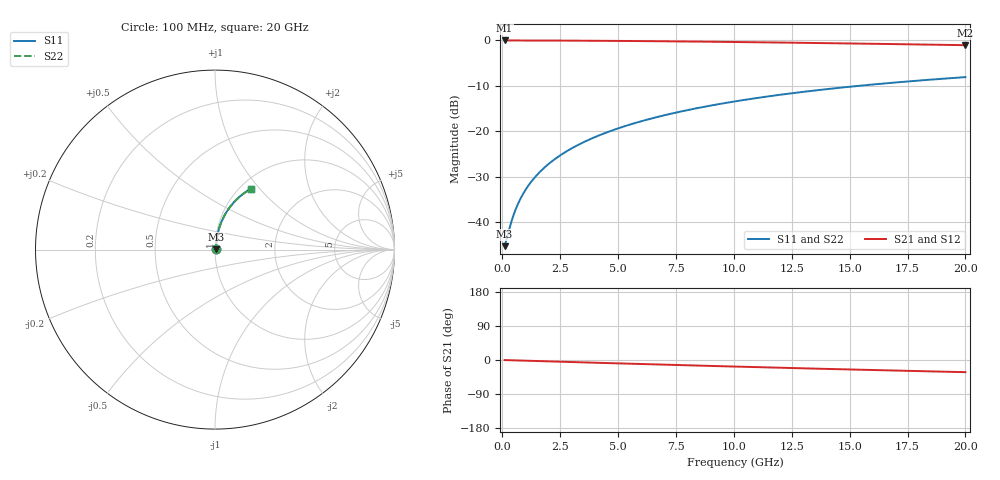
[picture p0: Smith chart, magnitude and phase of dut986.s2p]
! Touchstone file exported from HFSS 2024.1.0
!  File:  C:/UserFiles/LocalFiles/RDL_TSV_Batchsim/temp_RDL_bottom_986_1779943689.aedt
!  Generated:  12:50:50 PM May 28, 2026
!  Design:  RDL_bottom
!  Project:  temp_RDL_bottom_986_1779943689
!  Setup:  Setup1
!  Solution:  Sweep
! Variables:
!  dtsv = 10.80580581um
!  hbump = 3um
!  htsv = 59.23um
!  ldown = 388.85um
!  lrdl = 100um
!  p = 40
!  p1 = 42.44um
!  rhole = 1um
!  t = 450um
!  tdown = 2.62um
!  trdl = 3.915915916um
!  wdown = 10.84um
!  wrdl = 20um
# GHz S MA R 50.000000
! Terminal data exported
! Port[1] = RDL1_T1
! Port[2] = RDL1_T2
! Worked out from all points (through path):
!   200 points, 100 MHz to 20 GHz, reference 50 ohm
!   highest |S21| = -0.04 dB at 100 MHz (marker M1); lowest = -1.1 dB at 20 GHz (marker M2)
!   group delay of S21, straight-line fit = 4.46 ps
!   lowest |S11| = -45.3 dB at 100 MHz (marker M3), VSWR 1.01, Z = 50.5 + j0.225 ohm
!   |S11| at or under -10 dB: start of sweep to 15.44 GHz
!   |S22| runs from -45.3 to -8.1 dB; largest |S21 - S12| = 5.2e-15
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0.1  0.005442 24.2  0.995 -0.2  0.995 -0.2  0.005442 24.2
! Gamma 0 0 0 0
! Port Impedance 50 0 50 0
0.4  0.01026 59.7  0.9948 -0.7  0.9948 -0.7  0.01026 59.7
0.5  0.01224 64.4  0.9947 -0.9  0.9947 -0.9  0.01224 64.4
0.6  0.01427 67.7  0.9946 -1.1  0.9946 -1.1  0.01427 67.7
0.7  0.01633 70.2  0.9945 -1.3  0.9945 -1.3  0.01633 70.2
0.9  0.02049 73.5  0.9943 -1.6  0.9943 -1.6  0.02049 73.5
1.2  0.02677 76.4  0.9938 -2.2  0.9938 -2.2  0.02677 76.4
1.4  0.03097 77.6  0.9936 -2.5  0.9936 -2.5  0.03097 77.6
1.7  0.03729 78.8  0.9931 -3.1  0.9931 -3.1  0.03729 78.8
2.2  0.04786 80.0  0.9922 -4.0  0.9922 -4.0  0.04786 79.9
2.8  0.06058 80.5  0.9909 -5.0  0.9909 -5.0  0.06058 80.5
3.5  0.07547 80.5  0.989 -6.3  0.989 -6.3  0.07547 80.5
4.2  0.09037 80.2  0.9868 -7.5  0.9868 -7.5  0.09037 80.2
5  0.1074 79.6  0.9838 -8.9  0.9838 -8.9  0.1074 79.6
5.9  0.1265 78.7  0.98 -10.5  0.98 -10.5  0.1265 78.7
6.8  0.1455 77.7  0.9757 -12.0  0.9757 -12.0  0.1455 77.7
8.3  0.1769 75.8  0.9677 -14.5  0.9677 -14.5  0.1769 75.8
10.1  0.2138 73.3  0.9569 -17.4  0.9569 -17.4  0.2138 73.3
11.7  0.2457 71.1  0.9463 -20.0  0.9463 -20.0  0.2457 71.1
13.4  0.2785 68.6  0.9343 -22.6  0.9343 -22.6  0.2785 68.6
16.7  0.3385 64.0  0.9094 -27.5  0.9094 -27.5  0.3385 63.9
20  0.3932 59.4  0.8831 -32.1  0.8831 -32.1  0.3932 59.4
